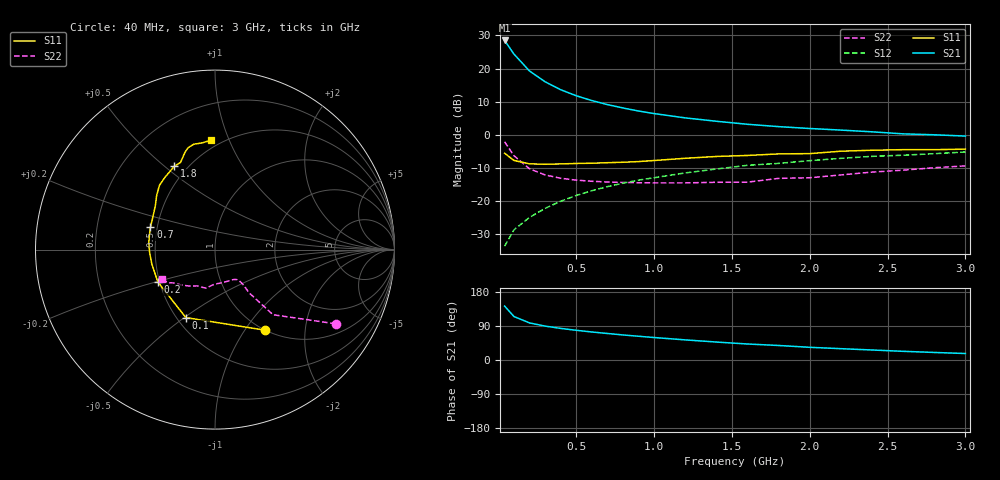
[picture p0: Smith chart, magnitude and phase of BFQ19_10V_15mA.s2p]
! Filename:  BFQ19E.S2P  Version:  2.0
! Philips part #: BFQ19  Date: Jul 1990
! Bias condition: Vce=10V, Ic=15mA
#  MHz  S  MA  R  50
! Freq  S11  S21  S12  S22  !GUM [dB]
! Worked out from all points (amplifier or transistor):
!   21 points, 40 MHz to 3 GHz, reference 50 ohm
!   highest |S21| = 28.5 dB at 40 MHz (marker M1)
!   |S21| within 3 dB of that: start of sweep to 83.77 MHz
!   unconditionally stable (mu >= 1): 334.5 MHz to 1.24 GHz
!   at 300 MHz: K = 0.99, MSG = 19.1 dB, |S12| = -22.2 dB
!   at 1 GHz: K = 1.04, MAG = 8.5 dB, |S12| = -12.9 dB
!   at 3 GHz: K = 0.90, MSG = 2.4 dB, |S12| = -5.1 dB
!   S11 on the Smith chart (normalised r, x): 40 MHz: 1.00, -1.25; 100 MHz: 0.56, -0.51; 200 MHz: 0.49, -0.20; 700 MHz: 0.46, +0.13; 1.8 GHz: 0.43, +0.54; 3 GHz: 0.44, +0.86
40  0.529 -58.1  26.56 142.3  0.021 66.2  0.789 -31.6
100  0.412 -113.2  16.54 114.8  0.037 61.7  0.486 -48.3
200  0.366 -150.4  9.198 97.8  0.057 64.9  0.308 -51.7
300  0.361 -166.8  6.327 89.5  0.078 68.5  0.249 -51.2
400  0.365 -177.8  4.801 83.4  0.1 70.1  0.222 -52.0
500  0.371 173.7  3.896 78.4  0.122 70.4  0.208 -53.7
600  0.374 167.8  3.296 73.9  0.144 70.6  0.2 -56.3
700  0.381 160.8  2.867 70.0  0.166 69.7  0.195 -59.3
800  0.387 154.8  2.549 66.1  0.187 68.9  0.192 -62.9
900  0.396 149.9  2.292 62.7  0.208 68.3  0.19 -67.7
1000  0.411 144.1  2.097 59.3  0.226 67.3  0.189 -72.1
1200  0.444 137.0  1.806 53.1  0.267 65.5  0.189 -81.7
1400  0.473 130.9  1.607 47.4  0.306 63.3  0.193 -91.1
1600  0.49 124.7  1.446 42.2  0.348 60.8  0.194 -91.9
1800  0.517 115.9  1.333 38.3  0.372 59.3  0.221 -103.4
2000  0.522 111.6  1.249 33.5  0.409 56.9  0.226 -116.6
2200  0.568 107.1  1.182 29.9  0.443 54.9  0.249 -125.3
2400  0.587 104.8  1.113 26.4  0.475 52.4  0.275 -134.4
2600  0.599 101.4  1.037 22.9  0.494 49.9  0.294 -140.8
2800  0.599 96.7  1.004 19.9  0.521 48.4  0.32 -144.8
3000  0.61 92.2  0.96 17.1  0.553 45.7  0.341 -150.9
